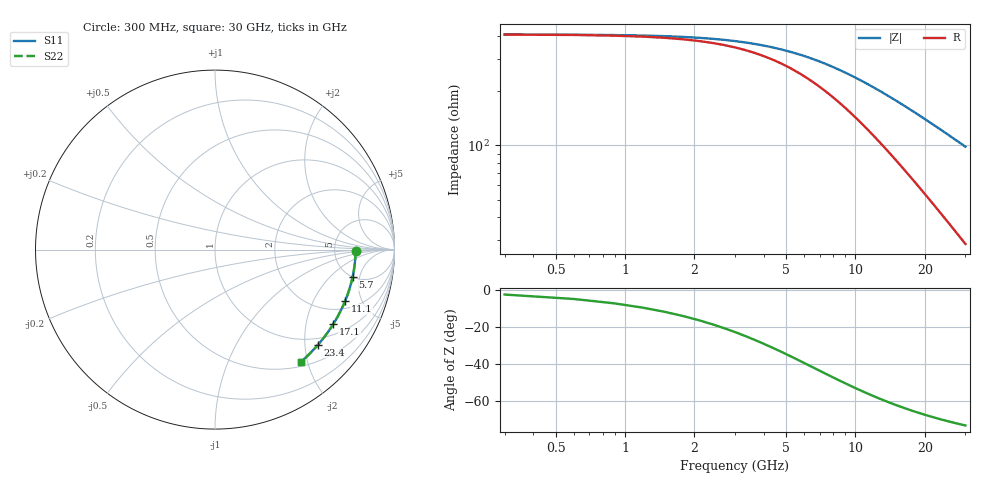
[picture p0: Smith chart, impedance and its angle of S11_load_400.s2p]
! Created Tue Apr 13 08:55:01 2021
# hz S ri R 50
! 2 Port Network Data from SP1.SP block
! freq  reS11  imS11  reS21  imS21  reS12  imS12  reS22  imS22
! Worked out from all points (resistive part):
!   100 points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, 300 MHz to 30 GHz, reference 50 ohm
!   read as one part to ground: R = 410 ohm at 300 MHz
!   S11 on the Smith chart (normalised r, x): 300 MHz: 8.20, -0.34; 5.7 GHz: 5.01, -3.92; 11.1 GHz: 2.50, -3.64; 17.1 GHz: 1.36, -2.88; 23.4 GHz: 0.84, -2.30; 30 GHz: 0.57, -1.88
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3e8  0.7829 -0.00813  0 0  0 0  0.7829 -0.00813
1.5e9  0.7818 -0.0406  0 0  0 0  0.7818 -0.0406
2.7e9  0.7792 -0.073  0 0  0 0  0.7792 -0.073
3.9e9  0.7752 -0.105  0 0  0 0  0.7752 -0.105
5.4e9  0.7683 -0.1444  0 0  0 0  0.7683 -0.1444
5.7e9  0.7667 -0.1522  0 0  0 0  0.7667 -0.1522
6.6e9  0.7614 -0.1754  0 0  0 0  0.7614 -0.1754
7.8e9  0.7532 -0.2057  0 0  0 0  0.7532 -0.2057
9e9  0.7439 -0.2354  0 0  0 0  0.7439 -0.2354
1.02e10  0.7337 -0.2643  0 0  0 0  0.7337 -0.2643
1.11e10  0.7253 -0.2855  0 0  0 0  0.7253 -0.2855
1.32e10  0.7041 -0.3331  0 0  0 0  0.7041 -0.3331
1.53e10  0.6805 -0.3783  0 0  0 0  0.6805 -0.3783
1.71e10  0.6589 -0.415  0 0  0 0  0.6589 -0.415
1.86e10  0.6399 -0.4442  0 0  0 0  0.6399 -0.4442
2.01e10  0.6201 -0.4722  0 0  0 0  0.6201 -0.4722
2.16e10  0.5997 -0.4989  0 0  0 0  0.5997 -0.4989
2.34e10  0.5745 -0.5294  0 0  0 0  0.5745 -0.5294
2.52e10  0.5486 -0.5581  0 0  0 0  0.5486 -0.5581
2.64e10  0.531 -0.5764  0 0  0 0  0.531 -0.5764
2.76e10  0.5131 -0.5939  0 0  0 0  0.5131 -0.5939
3e10  0.4769 -0.6267  0 0  0 0  0.4769 -0.6267
